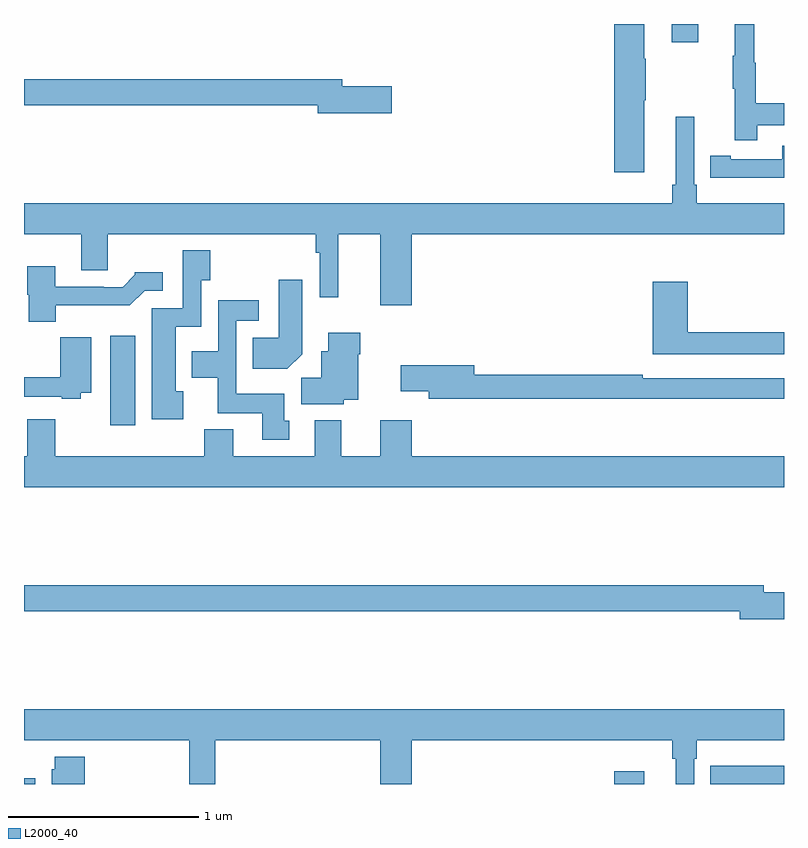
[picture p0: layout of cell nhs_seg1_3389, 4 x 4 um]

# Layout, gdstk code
import gdstk
lib = gdstk.Library(unit=1e-6, precision=1e-09)
def R(c, l, rs):  # rectangles x0, y0, x1, y1
    for r in rs: c.add(gdstk.rectangle(r[:2], r[2:], *l))
def P(c, l, *ps):  # polygons
    for p in ps: c.add(gdstk.Polygon(p, *l))
L2000_40 = (2000, 40)

nhs_seg1_3389 = lib.new_cell('nhs_seg1_3389')
R(nhs_seg1_3389, L2000_40, [(295,522.199,295.06,522.229), (298.106,522.199,298.264,522.265), (295.454,524.088,295.585,524.557), (298.409,526.104,298.549,526.199)])
P(nhs_seg1_3389, L2000_40, [(298.859,525.666),(299,525.666),(299,525.782),(298.852,525.782),(298.852,525.996),(298.844,525.996),(298.844,526.199),(298.742,526.199),(298.742,526.033),(298.731,526.033),(298.731,525.859),(298.742,525.859),(298.742,525.588),(298.859,525.588)],
  [(298.264,525.799),(298.272,525.799),(298.272,526.016),(298.264,526.016),(298.264,526.199),(298.106,526.199),(298.106,525.42),(298.264,525.42)],
  [(296.935,525.872),(296.674,525.872),(296.674,525.908),(295,525.908),(295,525.772),(296.546,525.772),(296.546,525.73),(296.935,525.73)],
  [(297.04,525.092),(299,525.092),(299,525.256),(298.541,525.256),(298.541,525.352),(298.527,525.352),(298.527,525.712),(298.43,525.712),(298.43,525.352),(298.411,525.352),(298.411,525.256),(295,525.256),(295,525.092),(295.301,525.092),(295.301,524.902),(295.441,524.902),(295.441,525.092),(296.536,525.092),(296.536,524.996),(296.556,524.996),(296.556,524.76),(296.655,524.76),(296.655,525.092),(296.876,525.092),(296.876,524.718),(297.04,524.718)],
  [(299,525.558),(298.992,525.558),(298.992,525.486),(298.72,525.486),(298.72,525.506),(298.612,525.506),(298.612,525.39),(298.72,525.39),(298.72,525.389),(299,525.389)],
  [(295.837,524.267),(295.798,524.267),(295.798,524.606),(295.932,524.606),(295.932,524.851),(295.98,524.851),(295.98,525.007),(295.836,525.007),(295.836,524.703),(295.673,524.703),(295.673,524.12),(295.837,524.12)],
  [(295.168,524.718),(295.557,524.718),(295.635,524.796),(295.729,524.796),(295.729,524.893),(295.584,524.893),(295.584,524.878),(295.52,524.814),(295.421,524.814),(295.421,524.817),(295.165,524.817),(295.165,524.923),(295.018,524.923),(295.018,524.775),(295.025,524.775),(295.025,524.633),(295.168,524.633)],
  [(296.464,524.462),(296.464,524.854),(296.342,524.854),(296.342,524.548),(296.203,524.548),(296.203,524.384),(296.386,524.384)],
  [(299,524.576),(298.493,524.576),(298.493,524.842),(298.31,524.842),(298.31,524.46),(299,524.46)],
  [(296.395,524.112),(296.371,524.112),(296.371,524.254),(296.118,524.254),(296.118,524.637),(296.236,524.637),(296.236,524.746),(296.022,524.746),(296.022,524.476),(295.883,524.476),(295.883,524.337),(296.021,524.337),(296.021,524.15),(296.255,524.15),(296.255,524.01),(296.395,524.01)],
  [(296.682,524.222),(296.758,524.222),(296.758,524.462),(296.771,524.462),(296.771,524.575),(296.6,524.575),(296.6,524.476),(296.564,524.476),(296.564,524.336),(296.459,524.336),(296.459,524.198),(296.682,524.198)],
  [(295.299,524.258),(295.354,524.258),(295.354,524.551),(295.192,524.551),(295.192,524.339),(295,524.339),(295,524.238),(295.199,524.238),(295.199,524.226),(295.299,524.226)],
  [(299,524.334),(298.256,524.334),(298.256,524.354),(297.37,524.354),(297.37,524.402),(296.982,524.402),(296.982,524.267),(297.131,524.267),(297.131,524.226),(299,524.226)],
  [(299,523.924),(297.04,523.924),(297.04,524.113),(296.876,524.113),(296.876,523.924),(296.671,523.924),(296.671,524.113),(296.531,524.113),(296.531,523.924),(296.101,523.924),(296.101,524.065),(295.949,524.065),(295.949,523.924),(295.165,523.924),(295.165,524.119),(295.018,524.119),(295.018,523.924),(295,523.924),(295,523.76),(299,523.76)],
  [(299,523.208),(298.894,523.208),(298.894,523.244),(295,523.244),(295,523.108),(298.766,523.108),(298.766,523.066),(299,523.066)],
  [(296.006,522.428),(296.876,522.428),(296.876,522.199),(297.04,522.199),(297.04,522.428),(298.411,522.428),(298.411,522.332),(298.43,522.332),(298.43,522.199),(298.527,522.199),(298.527,522.332),(298.541,522.332),(298.541,522.428),(299,522.428),(299,522.592),(295,522.592),(295,522.428),(295.87,522.428),(295.87,522.199),(296.006,522.199)],
  [(295.319,522.343),(295.162,522.343),(295.162,522.276),(295.145,522.276),(295.145,522.199),(295.319,522.199)],
  [(299,522.295),(298.72,522.295),(298.72,522.294),(298.612,522.294),(298.612,522.199),(299,522.199)])

lib.write_gds('nhs_seg1_3389.gds')
